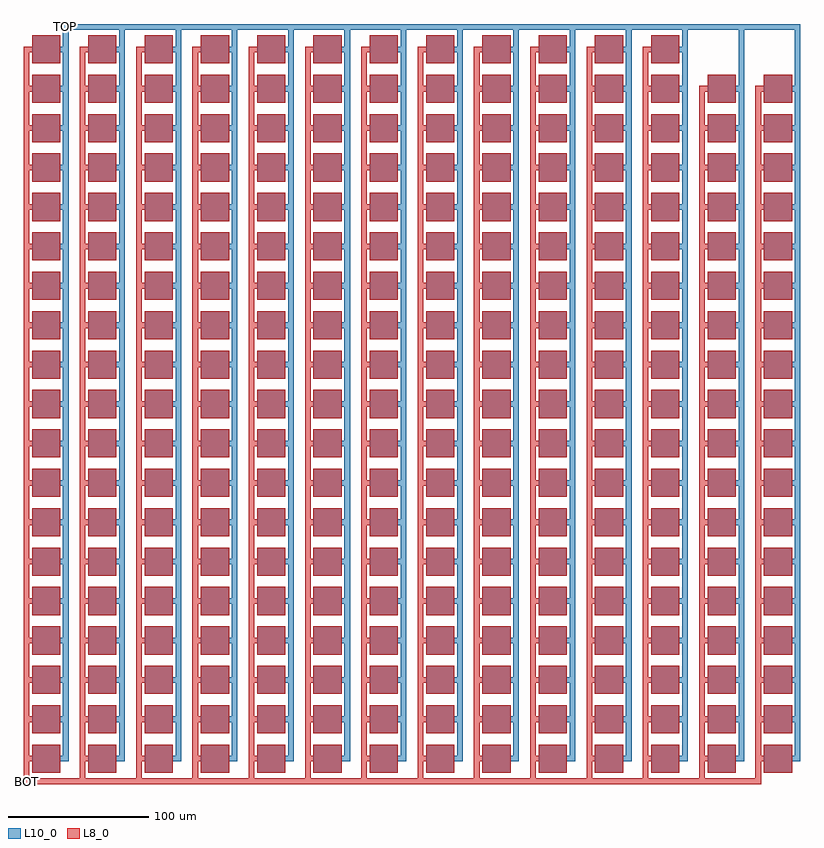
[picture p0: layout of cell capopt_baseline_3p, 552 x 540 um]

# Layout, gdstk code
import gdstk
lib = gdstk.Library(unit=1e-6, precision=1e-09)
def R(c, l, rs):  # rectangles x0, y0, x1, y1
    for r in rs: c.add(gdstk.rectangle(r[:2], r[2:], *l))
def A(c, l, x, y, w, h, nx, ny, dx, dy):  # array of equal rectangles
    R(c, l, [(x+i*dx, y+j*dy, x+i*dx+w, y+j*dy+h) for i in range(nx) for j in range(ny)])
L8_0 = (8, 0)
L10_0 = (10, 0)

capopt_baseline_3p = lib.new_cell('capopt_baseline_3p')
A(capopt_baseline_3p, L8_0, -6, -8, 4, 524, 12, 1, 40, 0)
A(capopt_baseline_3p, L8_0, 0, 0, 20, 20, 14, 18, 40, 28)
A(capopt_baseline_3p, L8_0, -6, 8, 6, 4, 14, 18, 40, 28)
A(capopt_baseline_3p, L8_0, 0, 504, 20, 20, 12, 1, 40, 0)
A(capopt_baseline_3p, L8_0, -6, 512, 6, 4, 12, 1, 40, 0)
R(capopt_baseline_3p, L8_0, [(-6,-8,518,-4), (474,-8,478,488), (514,-8,518,488)])
A(capopt_baseline_3p, L10_0, 0, 0, 20, 20, 14, 18, 40, 28)
A(capopt_baseline_3p, L10_0, 20, 8, 6, 4, 14, 18, 40, 28)
A(capopt_baseline_3p, L10_0, 22, 8, 4, 524, 14, 1, 40, 0)
A(capopt_baseline_3p, L10_0, 0, 504, 20, 20, 12, 1, 40, 0)
A(capopt_baseline_3p, L10_0, 20, 512, 6, 4, 12, 1, 40, 0)
R(capopt_baseline_3p, L10_0, [(22,528,546,532)])
capopt_baseline_3p.add(gdstk.Label('BOT', (-4,-6), layer=8, texttype=7))
capopt_baseline_3p.add(gdstk.Label('TOP', (24,530), layer=10, texttype=7))

lib.write_gds('capopt_baseline_3p.gds')
